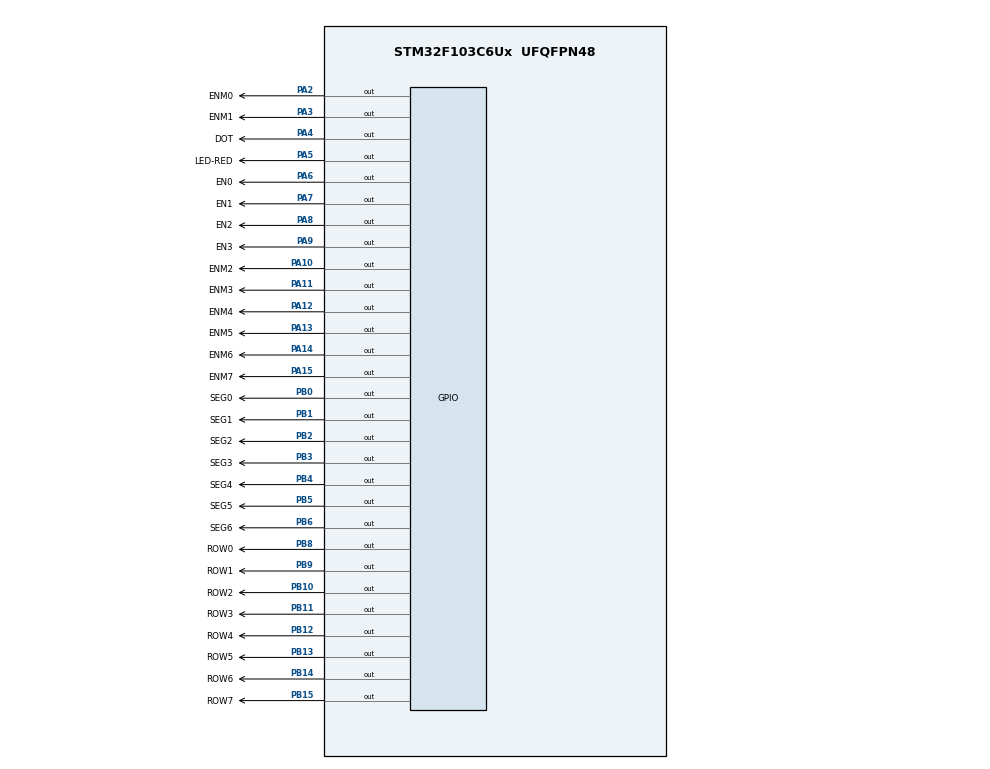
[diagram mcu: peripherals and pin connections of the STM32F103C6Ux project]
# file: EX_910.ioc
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Mcu.Family=STM32F1
Mcu.Name=STM32F103C6Ux
Mcu.Package=UFQFPN48
NVIC.PriorityGroup=NVIC_PRIORITYGROUP_4
NVIC.TIM2_IRQn=true\:0\:0\:false\:false\:true\:true\:true
PA10.GPIO_Label=ENM2
PA10.Signal=GPIO_Output
PA11.GPIO_Label=ENM3
PA11.Signal=GPIO_Output
PA12.GPIO_Label=ENM4
PA12.Signal=GPIO_Output
PA13.GPIO_Label=ENM5
PA13.Signal=GPIO_Output
PA14.GPIO_Label=ENM6
PA14.Signal=GPIO_Output
PA15.GPIO_Label=ENM7
PA15.Signal=GPIO_Output
PA2.GPIO_Label=ENM0
PA2.Signal=GPIO_Output
PA3.GPIO_Label=ENM1
PA3.Signal=GPIO_Output
PA4.GPIO_Label=DOT
PA4.Signal=GPIO_Output
PA5.GPIO_Label=LED-RED
PA5.Signal=GPIO_Output
PA6.GPIO_Label=EN0
PA6.Signal=GPIO_Output
PA7.GPIO_Label=EN1
PA7.Signal=GPIO_Output
PA8.GPIO_Label=EN2
PA8.Signal=GPIO_Output
PA9.GPIO_Label=EN3
PA9.Signal=GPIO_Output
PB0.GPIO_Label=SEG0
PB0.Signal=GPIO_Output
PB1.GPIO_Label=SEG1
PB1.Signal=GPIO_Output
PB10.GPIO_Label=ROW2
PB10.Signal=GPIO_Output
PB11.GPIO_Label=ROW3
PB11.Signal=GPIO_Output
PB12.GPIO_Label=ROW4
PB12.Signal=GPIO_Output
PB13.GPIO_Label=ROW5
PB13.Signal=GPIO_Output
PB14.GPIO_Label=ROW6
PB14.Signal=GPIO_Output
PB15.GPIO_Label=ROW7
PB15.Signal=GPIO_Output
PB2.GPIO_Label=SEG2
PB2.Signal=GPIO_Output
PB3.GPIO_Label=SEG3
PB3.Signal=GPIO_Output
PB4.GPIO_Label=SEG4
PB4.Signal=GPIO_Output
PB5.GPIO_Label=SEG5
PB5.Signal=GPIO_Output
PB6.GPIO_Label=SEG6
PB6.Signal=GPIO_Output
PB8.GPIO_Label=ROW0
PB8.Signal=GPIO_Output
PB9.GPIO_Label=ROW1
PB9.Signal=GPIO_Output
ProjectManager.HeapSize=0x200
ProjectManager.StackSize=0x400
ProjectManager.TargetToolchain=STM32CubeIDE
RCC.APB1Freq_Value=8000000
RCC.APB2Freq_Value=8000000
TIM2.Period=99
TIM2.Prescaler=7999
VP_SYS_VS_ND.Mode=No_Debug
VP_TIM2_VS_ClockSourceINT.Mode=Internal
board=custom

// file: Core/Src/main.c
/* USER CODE BEGIN Header */
/**
  ******************************************************************************
  * @file           : main.c
  * @brief          : Main program body
  ******************************************************************************
  * @attention
  *
  * Copyright (c) 2026 STMicroelectronics.
  * All rights reserved.
  *
  * This software is licensed under terms that can be found in the LICENSE file
  * in the root directory of this software component.
  * If no LICENSE file comes with this software, it is provided AS-IS.
  *
  ******************************************************************************
  */
/* USER CODE END Header */
#include "main.h"

TIM_HandleTypeDef htim2;

void SystemClock_Config(void);
static void MX_GPIO_Init(void);
static void MX_TIM2_Init(void);

/* USER CODE BEGIN 0 */
// ==================== KHAI BÁO BIẾN LED MATRIX & TIMER ====================
const int MAX_LED_MATRIX = 8;
int index_led_matrix = 0;

// Mảng chứa ma trận điểm tạo hình chữ "A" (Quét theo 8 cột)
uint8_t matrix_buffer[8] = {0x00, 0x7C, 0x12, 0x11, 0x12, 0x7C, 0x00, 0x00};

// Software Timer cho LED Matrix (Quét mỗi 10ms/cột -> full hình 80ms ~ 12.5Hz/100Hz)
int timer3_counter = 0;
int timer3_flag = 0;

int timer4_counter = 0;
int timer4_flag = 0;
int TIMER_CYCLE = 10; // Chu kỳ ngắt TIM2 là 10ms

void setTimer3(int duration) {
    timer3_counter = duration / TIMER_CYCLE;
    timer3_flag = 0;
}

// =========================EX10==================================
void setTimer4(int duration) {
    timer4_counter = duration / TIMER_CYCLE;
    timer4_flag = 0;
}

// ==============================================================
void timer_run() {
    if (timer3_counter > 0) {
        timer3_counter--;
        if (timer3_counter == 0) timer3_flag = 1;
    }
    // =========================EX10==================================
    if (timer4_counter > 0) {
            timer4_counter--;
            if (timer4_counter == 0) timer4_flag = 1;
    }
    // ==============================================================
}

// =========================EX10==================================
void shift_left() {
    uint8_t temp = matrix_buffer[0];
    for (int i = 0; i < 7; i++) {
        matrix_buffer[i] = matrix_buffer[i + 1];
    }
    matrix_buffer[7] = temp;
}
// ==============================================================

// ==================== HÀM BỔ TRỢ ĐIỀU KHIỂN HÀNG VÀ CỘT ====================

// Tắt toàn bộ 8 cột (Chân ENM0 -> ENM7 nối qua ULN2803)
void clearAllColumns() {
    HAL_GPIO_WritePin(GPIOA, ENM0_Pin | ENM1_Pin | ENM2_Pin | ENM3_Pin
                           | ENM4_Pin | ENM5_Pin | ENM6_Pin | ENM7_Pin, GPIO_PIN_RESET);
}

// Xuất 1 byte dữ liệu ra 8 hàng ROW0 -> ROW7 (Port B)
void setLEDMatrixRow(uint8_t value) {
    HAL_GPIO_WritePin(GPIOB, ROW0_Pin,    (value & 0x01) ? GPIO_PIN_SET : GPIO_PIN_RESET);
    HAL_GPIO_WritePin(GPIOB, ROW1_Pin,    (value & 0x02) ? GPIO_PIN_SET : GPIO_PIN_RESET);
    HAL_GPIO_WritePin(GPIOB, ROW2_Pin,    (value & 0x04) ? GPIO_PIN_SET : GPIO_PIN_RESET);
    HAL_GPIO_WritePin(GPIOB, ROW3_Pin,    (value & 0x08) ? GPIO_PIN_SET : GPIO_PIN_RESET);
    HAL_GPIO_WritePin(GPIOB, ROW4_Pin,    (value & 0x10) ? GPIO_PIN_SET : GPIO_PIN_RESET);
    HAL_GPIO_WritePin(GPIOB, ROW5_Pin, (value & 0x20) ? GPIO_PIN_SET : GPIO_PIN_RESET); // ROW5
    HAL_GPIO_WritePin(GPIOB, ROW6_Pin,    (value & 0x40) ? GPIO_PIN_SET : GPIO_PIN_RESET);
    HAL_GPIO_WritePin(GPIOB, ROW7_Pin,    (value & 0x80) ? GPIO_PIN_SET : GPIO_PIN_RESET);
}

// Hàm quét hiển thị cột tương ứng theo yêu cầu bài lab
void updateLEDMatrix(int index) {
    // 1. Tắt tất cả các cột chống lem hình
    clearAllColumns();

    // 2. Xuất dữ liệu hàng cho cột index
    setLEDMatrixRow(matrix_buffer[index]);

    // 3. Bật duy nhất cột index (Kích mức HIGH vào ULN2803)
    switch (index) {
        case 0: HAL_GPIO_WritePin(GPIOA, ENM0_Pin, GPIO_PIN_SET); break;
        case 1: HAL_GPIO_WritePin(GPIOA, ENM1_Pin, GPIO_PIN_SET); break;
        case 2: HAL_GPIO_WritePin(GPIOA, ENM2_Pin, GPIO_PIN_SET); break;
        case 3: HAL_GPIO_WritePin(GPIOA, ENM3_Pin, GPIO_PIN_SET); break;
        case 4: HAL_GPIO_WritePin(GPIOA, ENM4_Pin, GPIO_PIN_SET); break;
        case 5: HAL_GPIO_WritePin(GPIOA, ENM5_Pin, GPIO_PIN_SET); break;
        case 6: HAL_GPIO_WritePin(GPIOA, ENM6_Pin, GPIO_PIN_SET); break;
        case 7: HAL_GPIO_WritePin(GPIOA, ENM7_Pin, GPIO_PIN_SET); break;
        default: break;
    }
}
/* USER CODE END 0 */

int main(void)
{

  /* MCU Configuration--------------------------------------------------------*/

  /* Reset of all peripherals, Initializes the Flash interface and the Systick. */
  HAL_Init();

  /* Configure the system clock */
  SystemClock_Config();

  /* Initialize all configured peripherals */
  MX_GPIO_Init();
  MX_TIM2_Init();
  /* USER CODE BEGIN 2 */
  HAL_TIM_Base_Start_IT(&htim2); // Kích hoạt ngắt Timer2
  setTimer3(10);                 // Khởi tạo timer quét LED Matrix (10ms/lần)
  setTimer4(200);
  /* USER CODE END 2 */

  /* Infinite loop */
  while (1)
  {

    /* USER CODE BEGIN 3 */
	  if (timer3_flag == 1) {
	        setTimer3(10); // Cài đặt lại timer 10ms cho lần quét cột kế tiếp

	        // Quét hiển thị cột hiện tại
	        updateLEDMatrix(index_led_matrix);

	        // Chuyển sang cột tiếp theo
	        index_led_matrix++;
	        if (index_led_matrix >= MAX_LED_MATRIX) {
	            index_led_matrix = 0;
	        }
	    }
	  if (timer4_flag == 1) { //EX10
	        setTimer4(200);
	        shift_left();
	    }
  }
  /* USER CODE END 3 */
}

void SystemClock_Config(void)
{
  RCC_OscInitTypeDef RCC_OscInitStruct = {0};
  RCC_ClkInitTypeDef RCC_ClkInitStruct = {0};

  /** Initializes the RCC Oscillators according to the specified parameters
  * in the RCC_OscInitTypeDef structure.
  */
  RCC_OscInitStruct.OscillatorType = RCC_OSCILLATORTYPE_HSI;
  RCC_OscInitStruct.HSIState = RCC_HSI_ON;
  RCC_OscInitStruct.HSICalibrationValue = RCC_HSICALIBRATION_DEFAULT;
  RCC_OscInitStruct.PLL.PLLState = RCC_PLL_NONE;
  if (HAL_RCC_OscConfig(&RCC_OscInitStruct) != HAL_OK)
  {
    Error_Handler();
  }
  /** Initializes the CPU, AHB and APB buses clocks
  */
  RCC_ClkInitStruct.ClockType = RCC_CLOCKTYPE_HCLK|RCC_CLOCKTYPE_SYSCLK
                              |RCC_CLOCKTYPE_PCLK1|RCC_CLOCKTYPE_PCLK2;
  RCC_ClkInitStruct.SYSCLKSource = RCC_SYSCLKSOURCE_HSI;
  RCC_ClkInitStruct.AHBCLKDivider = RCC_SYSCLK_DIV1;
  RCC_ClkInitStruct.APB1CLKDivider = RCC_HCLK_DIV1;
  RCC_ClkInitStruct.APB2CLKDivider = RCC_HCLK_DIV1;

  if (HAL_RCC_ClockConfig(&RCC_ClkInitStruct, FLASH_LATENCY_0) != HAL_OK)
  {
    Error_Handler();
  }
}

static void MX_TIM2_Init(void)
{

  TIM_ClockConfigTypeDef sClockSourceConfig = {0};
  TIM_MasterConfigTypeDef sMasterConfig = {0};

  htim2.Instance = TIM2;
  htim2.Init.Prescaler = 7999;
  htim2.Init.CounterMode = TIM_COUNTERMODE_UP;
  htim2.Init.Period = 9;
  htim2.Init.ClockDivision = TIM_CLOCKDIVISION_DIV1;
  htim2.Init.AutoReloadPreload = TIM_AUTORELOAD_PRELOAD_DISABLE;
  if (HAL_TIM_Base_Init(&htim2) != HAL_OK)
  {
    Error_Handler();
  }
  sClockSourceConfig.ClockSource = TIM_CLOCKSOURCE_INTERNAL;
  if (HAL_TIM_ConfigClockSource(&htim2, &sClockSourceConfig) != HAL_OK)
  {
    Error_Handler();
  }
  sMasterConfig.MasterOutputTrigger = TIM_TRGO_RESET;
  sMasterConfig.MasterSlaveMode = TIM_MASTERSLAVEMODE_DISABLE;
  if (HAL_TIMEx_MasterConfigSynchronization(&htim2, &sMasterConfig) != HAL_OK)
  {
    Error_Handler();
  }

}

static void MX_GPIO_Init(void)
{
  GPIO_InitTypeDef GPIO_InitStruct = {0};

  /* GPIO Ports Clock Enable */
  __HAL_RCC_GPIOA_CLK_ENABLE();
  __HAL_RCC_GPIOB_CLK_ENABLE();

  /*Configure GPIO pin Output Level */
  HAL_GPIO_WritePin(GPIOA, ENM0_Pin|ENM1_Pin|DOT_Pin|LED_RED_Pin
                          |EN0_Pin|EN1_Pin|EN2_Pin|EN3_Pin
                          |ENM2_Pin|ENM3_Pin|ENM4_Pin|ENM5_Pin
                          |ENM6_Pin|ENM7_Pin, GPIO_PIN_RESET);

  /*Configure GPIO pin Output Level */
  HAL_GPIO_WritePin(GPIOB, SEG0_Pin|SEG1_Pin|SEG2_Pin|ROW2_Pin
                          |ROW3_Pin|ROW4_Pin|ROW5_Pin|ROW6_Pin
                          |ROW7_Pin|SEG3_Pin|SEG4_Pin|SEG5_Pin
                          |SEG6_Pin|ROW0_Pin|ROW1_Pin, GPIO_PIN_RESET);

  /*Configure GPIO pins : ENM0_Pin ENM1_Pin DOT_Pin LED_RED_Pin
                           EN0_Pin EN1_Pin EN2_Pin EN3_Pin
                           ENM2_Pin ENM3_Pin ENM4_Pin ENM5_Pin
                           ENM6_Pin ENM7_Pin */
  GPIO_InitStruct.Pin = ENM0_Pin|ENM1_Pin|DOT_Pin|LED_RED_Pin
                          |EN0_Pin|EN1_Pin|EN2_Pin|EN3_Pin
                          |ENM2_Pin|ENM3_Pin|ENM4_Pin|ENM5_Pin
                          |ENM6_Pin|ENM7_Pin;
  GPIO_InitStruct.Mode = GPIO_MODE_OUTPUT_PP;
  GPIO_InitStruct.Pull = GPIO_NOPULL;
  GPIO_InitStruct.Speed = GPIO_SPEED_FREQ_LOW;
  HAL_GPIO_Init(GPIOA, &GPIO_InitStruct);

  /*Configure GPIO pins : SEG0_Pin SEG1_Pin SEG2_Pin ROW2_Pin
                           ROW3_Pin ROW4_Pin ROW4B13_Pin ROW6_Pin
                           ROW7_Pin SEG3_Pin SEG4_Pin SEG5_Pin
                           SEG6_Pin ROW0_Pin ROW1_Pin */
  GPIO_InitStruct.Pin = SEG0_Pin|SEG1_Pin|SEG2_Pin|ROW2_Pin
                          |ROW3_Pin|ROW4_Pin|ROW5_Pin|ROW6_Pin
                          |ROW7_Pin|SEG3_Pin|SEG4_Pin|SEG5_Pin
                          |SEG6_Pin|ROW0_Pin|ROW1_Pin;
  GPIO_InitStruct.Mode = GPIO_MODE_OUTPUT_PP;
  GPIO_InitStruct.Pull = GPIO_NOPULL;
  GPIO_InitStruct.Speed = GPIO_SPEED_FREQ_LOW;
  HAL_GPIO_Init(GPIOB, &GPIO_InitStruct);

}

/* USER CODE BEGIN 4 */
void HAL_TIM_PeriodElapsedCallback(TIM_HandleTypeDef *htim) {
    if (htim->Instance == TIM2) {
        timer_run(); // Hàm ngắt chỉ đếm thời gian cho software timer
    }
}
/* USER CODE END 4 */

void Error_Handler(void)
{
  __disable_irq();
  while (1)
  {
  }
}
